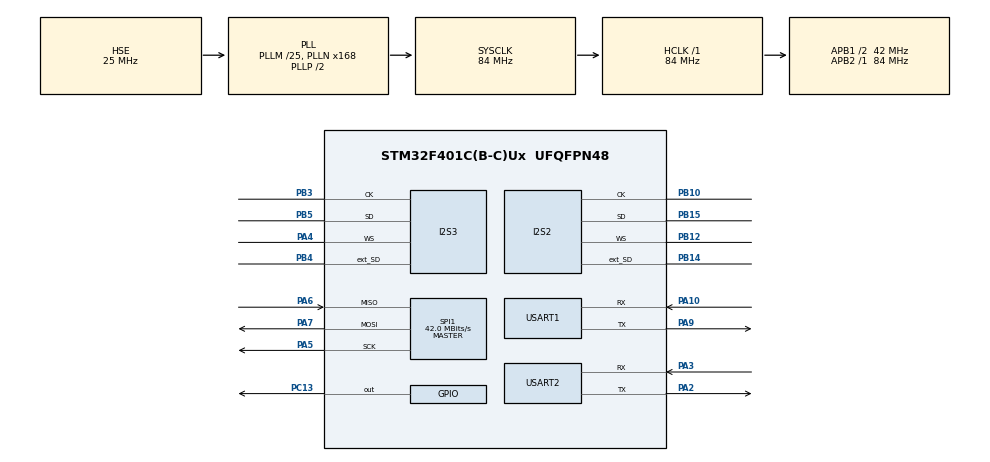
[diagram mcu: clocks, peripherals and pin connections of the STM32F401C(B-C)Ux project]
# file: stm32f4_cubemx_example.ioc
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Dma.I2S2_EXT_RX.5.Direction=DMA_PERIPH_TO_MEMORY
Dma.I2S2_EXT_RX.5.FIFOMode=DMA_FIFOMODE_DISABLE
Dma.I2S2_EXT_RX.5.Instance=DMA1_Stream3
Dma.I2S2_EXT_RX.5.MemDataAlignment=DMA_MDATAALIGN_BYTE
Dma.I2S2_EXT_RX.5.MemInc=DMA_MINC_ENABLE
Dma.I2S2_EXT_RX.5.Mode=DMA_NORMAL
Dma.I2S2_EXT_RX.5.PeriphDataAlignment=DMA_PDATAALIGN_BYTE
Dma.I2S2_EXT_RX.5.PeriphInc=DMA_PINC_DISABLE
Dma.I2S2_EXT_RX.5.Priority=DMA_PRIORITY_LOW
Dma.Request0=USART1_RX
Dma.Request1=USART1_TX
Dma.Request2=USART2_RX
Dma.Request3=USART2_TX
Dma.Request4=SPI1_TX
Dma.Request5=I2S2_EXT_RX
Dma.Request6=SPI3_TX
Dma.SPI1_TX.4.Direction=DMA_MEMORY_TO_PERIPH
Dma.SPI1_TX.4.FIFOMode=DMA_FIFOMODE_DISABLE
Dma.SPI1_TX.4.Instance=DMA2_Stream3
Dma.SPI1_TX.4.MemDataAlignment=DMA_MDATAALIGN_BYTE
Dma.SPI1_TX.4.MemInc=DMA_MINC_ENABLE
Dma.SPI1_TX.4.Mode=DMA_NORMAL
Dma.SPI1_TX.4.PeriphDataAlignment=DMA_PDATAALIGN_BYTE
Dma.SPI1_TX.4.PeriphInc=DMA_PINC_DISABLE
Dma.SPI1_TX.4.Priority=DMA_PRIORITY_LOW
Dma.SPI3_TX.6.Direction=DMA_MEMORY_TO_PERIPH
Dma.SPI3_TX.6.FIFOMode=DMA_FIFOMODE_DISABLE
Dma.SPI3_TX.6.Instance=DMA1_Stream7
Dma.SPI3_TX.6.MemDataAlignment=DMA_MDATAALIGN_BYTE
Dma.SPI3_TX.6.MemInc=DMA_MINC_ENABLE
Dma.SPI3_TX.6.Mode=DMA_NORMAL
Dma.SPI3_TX.6.PeriphDataAlignment=DMA_PDATAALIGN_BYTE
Dma.SPI3_TX.6.PeriphInc=DMA_PINC_DISABLE
Dma.SPI3_TX.6.Priority=DMA_PRIORITY_LOW
Dma.USART1_RX.0.Direction=DMA_PERIPH_TO_MEMORY
Dma.USART1_RX.0.FIFOMode=DMA_FIFOMODE_DISABLE
Dma.USART1_RX.0.Instance=DMA2_Stream2
Dma.USART1_RX.0.MemDataAlignment=DMA_MDATAALIGN_BYTE
Dma.USART1_RX.0.MemInc=DMA_MINC_ENABLE
Dma.USART1_RX.0.Mode=DMA_CIRCULAR
Dma.USART1_RX.0.PeriphDataAlignment=DMA_PDATAALIGN_BYTE
Dma.USART1_RX.0.PeriphInc=DMA_PINC_DISABLE
Dma.USART1_RX.0.Priority=DMA_PRIORITY_LOW
Dma.USART1_TX.1.Direction=DMA_MEMORY_TO_PERIPH
Dma.USART1_TX.1.FIFOMode=DMA_FIFOMODE_DISABLE
Dma.USART1_TX.1.Instance=DMA2_Stream7
Dma.USART1_TX.1.MemDataAlignment=DMA_MDATAALIGN_BYTE
Dma.USART1_TX.1.MemInc=DMA_MINC_ENABLE
Dma.USART1_TX.1.Mode=DMA_NORMAL
Dma.USART1_TX.1.PeriphDataAlignment=DMA_PDATAALIGN_BYTE
Dma.USART1_TX.1.PeriphInc=DMA_PINC_DISABLE
Dma.USART1_TX.1.Priority=DMA_PRIORITY_LOW
Dma.USART2_RX.2.Direction=DMA_PERIPH_TO_MEMORY
Dma.USART2_RX.2.FIFOMode=DMA_FIFOMODE_DISABLE
Dma.USART2_RX.2.Instance=DMA1_Stream5
Dma.USART2_RX.2.MemDataAlignment=DMA_MDATAALIGN_BYTE
Dma.USART2_RX.2.MemInc=DMA_MINC_ENABLE
Dma.USART2_RX.2.Mode=DMA_NORMAL
Dma.USART2_RX.2.PeriphDataAlignment=DMA_PDATAALIGN_BYTE
Dma.USART2_RX.2.PeriphInc=DMA_PINC_DISABLE
Dma.USART2_RX.2.Priority=DMA_PRIORITY_LOW
Dma.USART2_TX.3.Direction=DMA_MEMORY_TO_PERIPH
Dma.USART2_TX.3.FIFOMode=DMA_FIFOMODE_DISABLE
Dma.USART2_TX.3.Instance=DMA1_Stream6
Dma.USART2_TX.3.MemDataAlignment=DMA_MDATAALIGN_BYTE
Dma.USART2_TX.3.MemInc=DMA_MINC_ENABLE
Dma.USART2_TX.3.Mode=DMA_NORMAL
Dma.USART2_TX.3.PeriphDataAlignment=DMA_PDATAALIGN_BYTE
Dma.USART2_TX.3.PeriphInc=DMA_PINC_DISABLE
Dma.USART2_TX.3.Priority=DMA_PRIORITY_LOW
I2S2.ErrorAudioFreq=0.0 %
I2S2.FullDuplexMode=I2S_FULLDUPLEXMODE_ENABLE
I2S2.Instance=SPI$Index
I2S2.RealAudioFreq=8.0 KHz
I2S2.VirtualMode=I2S_MODE_MASTER
I2S3.ErrorAudioFreq=0.0 %
I2S3.FullDuplexMode=I2S_FULLDUPLEXMODE_ENABLE
I2S3.Instance=SPI$Index
I2S3.RealAudioFreq=8.0 KHz
I2S3.VirtualMode=I2S_MODE_MASTER
Mcu.Family=STM32F4
Mcu.Name=STM32F401C(B-C)Ux
Mcu.Package=UFQFPN48
NVIC.DMA1_Stream3_IRQn=true\:0\:0\:false\:false\:true\:false\:true\:true
NVIC.DMA1_Stream5_IRQn=true\:0\:0\:false\:false\:true\:false\:true\:true
NVIC.DMA1_Stream6_IRQn=true\:0\:0\:false\:false\:true\:false\:true\:true
NVIC.DMA1_Stream7_IRQn=true\:0\:0\:false\:false\:true\:false\:true\:true
NVIC.DMA2_Stream2_IRQn=true\:0\:0\:false\:false\:true\:false\:true\:true
NVIC.DMA2_Stream3_IRQn=true\:0\:0\:false\:false\:true\:false\:true\:true
NVIC.DMA2_Stream7_IRQn=true\:0\:0\:false\:false\:true\:false\:true\:true
NVIC.PriorityGroup=NVIC_PRIORITYGROUP_4
NVIC.TIM2_IRQn=true\:3\:0\:true\:false\:true\:true\:true\:true
NVIC.USART1_IRQn=true\:1\:0\:true\:false\:true\:false\:true\:true
NVIC.USART2_IRQn=true\:2\:0\:true\:false\:true\:false\:true\:true
PA10.Mode=Asynchronous
PA10.Signal=USART1_RX
PA2.Mode=Asynchronous
PA2.Signal=USART2_TX
PA3.Mode=Asynchronous
PA3.Signal=USART2_RX
PA4.Mode=Full_Duplex_Master
PA4.Signal=I2S3_WS
PA5.Mode=Full_Duplex_Master
PA5.Signal=SPI1_SCK
PA6.Mode=Full_Duplex_Master
PA6.Signal=SPI1_MISO
PA7.Mode=Full_Duplex_Master
PA7.Signal=SPI1_MOSI
PA9.Mode=Asynchronous
PA9.Signal=USART1_TX
PB10.Mode=Full_Duplex_Master
PB10.Signal=I2S2_CK
PB12.Mode=Full_Duplex_Master
PB12.Signal=I2S2_WS
PB14.Mode=Full_Duplex_Master
PB14.Signal=I2S2_ext_SD
PB15.Mode=Full_Duplex_Master
PB15.Signal=I2S2_SD
PB3.Mode=Full_Duplex_Master
PB3.Signal=I2S3_CK
PB4.Mode=Full_Duplex_Master
PB4.Signal=I2S3_ext_SD
PB5.Mode=Full_Duplex_Master
PB5.Signal=I2S3_SD
PC13-ANTI_TAMP.GPIO_ModeDefaultOutputPP=GPIO_MODE_OUTPUT_OD
PC13-ANTI_TAMP.GPIO_PuPd=GPIO_PULLUP
PC13-ANTI_TAMP.Signal=GPIO_Output
PH0\ -\ OSC_IN.Mode=HSE-External-Oscillator
PH0\ -\ OSC_IN.Signal=RCC_OSC_IN
PH1\ -\ OSC_OUT.Mode=HSE-External-Oscillator
PH1\ -\ OSC_OUT.Signal=RCC_OSC_OUT
ProjectManager.HeapSize=0x200
ProjectManager.StackSize=0x1000
ProjectManager.TargetToolchain=MDK-ARM V5.32
RCC.48MHZClocksFreq_Value=42000000
RCC.AHBFreq_Value=84000000
RCC.APB1CLKDivider=RCC_HCLK_DIV2
RCC.APB1Freq_Value=42000000
RCC.APB1TimFreq_Value=84000000
RCC.APB2Freq_Value=84000000
RCC.APB2TimFreq_Value=84000000
RCC.CortexFreq_Value=84000000
RCC.HCLKFreq_Value=84000000
RCC.HSE_VALUE=25000000
RCC.HSI_VALUE=16000000
RCC.LSE_VALUE=32768
RCC.PLLM=25
RCC.PLLN=168
RCC.PLLSourceVirtual=RCC_PLLSOURCE_HSE
RCC.SYSCLKFreq_VALUE=84000000
RCC.SYSCLKSource=RCC_SYSCLKSOURCE_PLLCLK
RCC.VCOOutputFreq_Value=168000000
SPI1.CalculateBaudRate=42.0 MBits/s
SPI1.Direction=SPI_DIRECTION_2LINES
SPI1.Mode=SPI_MODE_MASTER
SPI1.VirtualType=VM_MASTER
TIM2.AutoReloadPreload=TIM_AUTORELOAD_PRELOAD_ENABLE
TIM2.Period=4999
TIM2.Prescaler=83
USART1.VirtualMode=VM_ASYNC
USART2.VirtualMode=VM_ASYNC
VP_TIM2_VS_ClockSourceINT.Mode=Internal
board=custom

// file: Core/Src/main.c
/* USER CODE BEGIN Header */
/**
  ******************************************************************************
  * @file           : main.c
  * @brief          : Main program body
  ******************************************************************************
  * @attention
  *
  * Copyright (c) 2026 STMicroelectronics.
  * All rights reserved.
  *
  * This software is licensed under terms that can be found in the LICENSE file
  * in the root directory of this software component.
  * If no LICENSE file comes with this software, it is provided AS-IS.
  *
  ******************************************************************************
  */
/* USER CODE END Header */
#include "main.h"
#include "dma.h"
#include "i2s.h"
#include "spi.h"
#include "tim.h"
#include "usart.h"
#include "gpio.h"

/* USER CODE BEGIN Includes */
#include <string.h>
#include <stdio.h>
#include <stdlib.h>
#include "message_protocol.h"
/* USER CODE END Includes */

void SystemClock_Config(void);
void PeriphCommonClock_Config(void);
/* USER CODE BEGIN PFP */

typedef enum
{
	CMD_WIN = 0x0041,
	CMD_ESP = 0x0048,
	CMD_STM = 0x0049,

	// one-direction-data devices
	CMD_DPL = 0x00A1, // display
	CMD_MIC = 0x00A2, // microphone
	CMD_SPK = 0x00A3, // speaker

} CMD_CODE;

#define CMD_CODE_LEN 2
#define CMD_LEN_LEN 8
#define CMD_HEADER_LEN (CMD_CODE_LEN + CMD_LEN_LEN)

uint8_t got_cmd_begin(uint32_t len, const char* msg)
{
	const uint32_t cmd_header_length = CMD_HEADER_LEN;
	if (len < cmd_header_length)
	{
		return 0;
	}
	return 1;
}

void send_uart(UART_HandleTypeDef *huart, const void* data, uint32_t size)
{
	HAL_UART_Transmit(huart, data, size, HAL_MAX_DELAY);
}

char stm_resp[] = "stm32";
void cmd_stm_proc(uint32_t dlen, const char* data)
{
	if (memcmp(data, "win11", 5))
	{
		send_uart(&huart2, stm_resp, 5);
	}
}

void cmd_display_proc(uint32_t dlen, const char* data)
{
	(void)dlen;
	(void)data;
	return;
}

void cmd_speaker_proc(uint32_t dlen, const char* data)
{
	(void)dlen;
	(void)data;
	return;
}

void cmd_proc(const char* msg, uint32_t len)
{
	if (!got_cmd_begin(len, msg)) return;

	const char* data = msg + CMD_HEADER_LEN;
	const uint64_t data_len = ((uint64_t)msg[2] << 0) |
		((uint64_t)msg[3] << (8 * 1)) |
		((uint64_t)msg[3] << (8 * 2)) |
		((uint64_t)msg[3] << (8 * 3)) |
		((uint64_t)msg[3] << (8 * 4)) |
		((uint64_t)msg[3] << (8 * 5)) |
		((uint64_t)msg[3] << (8 * 6)) |
		((uint64_t)msg[3] << (8 * 7));

	uint16_t cmd_code = (msg[0]) | (msg[1] << 8);

	switch (cmd_code)
	{
		case (CMD_WIN):  // ignore windows-for
			break;
		case (CMD_ESP):  // ignore esp32-for
			break;
		case (CMD_STM):
			cmd_stm_proc(data_len, data);
			break;

		case(CMD_DPL):
			cmd_display_proc(data_len, data);
			break;

		case(CMD_MIC): // no to-microphone-directed data
			break;

		case(CMD_SPK):
			cmd_speaker_proc(data_len, data);
			break;
	};

}

const char backspace_msg[2] = " \b";
void backspace(uint16_t i, UART_HandleTypeDef *huart)
{
	if (i <= 1)
	{
		i = 0;
		return;
	}
	HAL_UART_Transmit(huart, backspace_msg, 2, HAL_MAX_DELAY);
}

const char crlf[2] = {'\r', '\n'};
const char lbarr[2] = "> ";

#define RXBUFUSART1 128
#define TXBUFUSART1 128
char tx1msg[TXBUFUSART1];
char rx1_char[RXBUFUSART1] = {};
uint32_t rxusart1buf_i = 0;
volatile char txusart1buf[TXBUFUSART1] = {};
volatile char rxusart1buf[RXBUFUSART1] = {};
const uint8_t rxchar_lag = 0;
const char msg[] = "zdarova";
const int msg_size = 7;
void rxusart1_response(uint8_t is_terminal)
{
	int msg_size_ = 0;
	uint8_t is_msg = 0;
	if ((memcmp(rx1_char, "privet", 6) == 0) && (rxusart1buf_i == 6))
	{
		is_msg = 1;
		msg_size_ = msg_size;
		memcpy(txusart1buf, msg, msg_size);
	}
	else if ((memcmp(rx1_char, "gorbunki", 8) == 0) && (rxusart1buf_i == 8))
	{
		is_msg = 1;
		msg_size_ = 11;
		memcpy(txusart1buf, "Liquidation", 11);
	}
	else
	{
		msg_size_ = 0;
	}

	if (is_terminal) memcpy(tx1msg, crlf, 2); // end current input line
	if (is_msg)
	{
		memcpy(tx1msg+(is_terminal ? 2 : 0), txusart1buf, msg_size_); // output line
		memcpy(tx1msg+(is_terminal ? 2 : 0)+msg_size_, crlf, 2); // end output line
		msg_size_ += (is_terminal ? 2 : 0);
	}
	if (is_terminal) memcpy(tx1msg+(is_terminal ? 2 : 0)+msg_size_, lbarr, 2); // begin next input line

	HAL_UART_Transmit(&huart1, tx1msg, msg_size_+(is_terminal ? 4 : 0), HAL_MAX_DELAY);
}

void uart1rx_cb(void)
{
	HAL_UART_Transmit(&huart1, rx1_char+rxusart1buf_i+rxchar_lag, 1, HAL_MAX_DELAY);

	if (rx1_char[rxusart1buf_i+rxchar_lag] == 0x0D)
	{
		rxusart1_response(1);
		rxusart1buf_i = 0;
	}
	else if (rx1_char[rxusart1buf_i+rxchar_lag] == 0x08)
	{
		backspace(rxusart1buf_i, &huart1);
		--rxusart1buf_i;
	}
	else
	{
		++rxusart1buf_i;
	}

	HAL_UART_Receive_IT(&huart1, rx1_char+rxusart1buf_i, 1);
}

#define RXBUFUSART2 128
#define TXBUFUSART2 128
char tx2msg[256];
char rx2_char[RXBUFUSART2] = {};
uint32_t rxusart2buf_i = 0;
volatile char txusart2buf[TXBUFUSART2] = {};

// Буфер для накопления данных нового протокола message_protocol
#define MSG_PROTOCOL_BUFFER_SIZE 4096
static uint8_t msg_protocol_buffer[MSG_PROTOCOL_BUFFER_SIZE] = {};
static uint32_t msg_protocol_buf_pos = 0;

// Буфер для отправки ответов (статический, ограниченный размером для экономии памяти)
#define TX_BUFFER_SIZE (MSG_HEADER_LEN + 4096)  // Достаточно для большинства сообщений
static uint8_t tx_buffer[TX_BUFFER_SIZE] = {};

uint8_t rx2char_lag = 0x0;
char txconst[1] = { 0x55 };

// Функция для вывода заголовка на UART1 (отладчик)
void print_header_to_uart1(const msg_header_t* header, const uint8_t* payload, uint32_t payload_len)
{
	char debug_msg[256];
	int len = 0;

	len += sprintf(debug_msg + len, "[TEST RX] type=%d src=%d dst=%d len=%lu seq=%d\r\n",
		header->msg_type, header->source_id, header->destination_id,
		(unsigned long)header->payload_len, header->sequence);

	// Отладочный вывод: показываем байты заголовка из буфера
	len += sprintf(debug_msg + len, "[TEST RX] Header bytes: ");
	for (int i = 0; i < MSG_HEADER_LEN && i < 12; i++)
	{
		len += sprintf(debug_msg + len, "%02X ", msg_protocol_buffer[i]);
	}
	len += sprintf(debug_msg + len, "\r\n");

	// Выводим информацию о реальном payload
	if (payload != NULL && payload_len > 0)
	{
		len += sprintf(debug_msg + len, "[TEST RX] Payload received: %lu bytes\r\n", (unsigned long)payload_len);
		if (payload_len <= 16)
		{
			len += sprintf(debug_msg + len, "[TEST RX] Payload data: ");
			for (uint32_t i = 0; i < payload_len; i++)
			{
				len += sprintf(debug_msg + len, "%02X ", payload[i]);
			}
			len += sprintf(debug_msg + len, "\r\n");
		}
	}
	else
	{
		len += sprintf(debug_msg + len, "[TEST RX] WARNING: No payload data (payload_len=%lu)\r\n",
			(unsigned long)payload_len);
	}

	HAL_UART_Transmit(&huart1, (uint8_t*)debug_msg, len, HAL_MAX_DELAY);
}

// Union для работы с заголовком как с байтами и структурой
typedef union
{
	msg_header_t header;
	uint8_t bytes[MSG_HEADER_LEN];
} msg_header_union_t;

// Обработка нового протокола message_protocol
void process_message_protocol(void)
{
	// Обрабатываем все доступные пакеты в буфере
	while (msg_protocol_buf_pos >= MSG_HEADER_LEN)
	{
		// Используем готовую функцию msg_unpack для правильного парсинга
		msg_header_t header;
		const u8* payload = NULL;
		u32 payload_len = 0;

		// Проверяем, достаточно ли данных для заголовка
		if (msg_protocol_buf_pos < MSG_HEADER_LEN)
		{
			// Недостаточно данных даже для заголовка - ждем
			break;
		}

		// Читаем заголовок вручную для проверки валидности
		msg_header_t temp_header;
		temp_header.msg_type = msg_protocol_buffer[0];
		temp_header.source_id = msg_protocol_buffer[1];
		temp_header.destination_id = msg_protocol_buffer[2];
		temp_header.route_flags = msg_protocol_buffer[3];
		temp_header.priority = msg_protocol_buffer[4];
		temp_header.stream_id = (u16)(msg_protocol_buffer[5] | (msg_protocol_buffer[6] << 8));
		temp_header.payload_len = (u32)(msg_protocol_buffer[7] | (msg_protocol_buffer[8] << 8) |
			(msg_protocol_buffer[9] << 16) | (msg_protocol_buffer[10] << 24));
		temp_header.sequence = msg_protocol_buffer[11];

		// Проверяем валидность заголовка
		if (!msg_validate_header(&temp_header))
		{
			// Заголовок невалиден - сбрасываем буфер
			// Правило: если не получилось обработать заголовок - он сбрасывается без уведомления отправителю
			char debug_buf[128];
			int dbg_len = sprintf(debug_buf, "[RX] Invalid header, clearing buffer (%lu bytes)\r\n",
				(unsigned long)msg_protocol_buf_pos);
			HAL_UART_Transmit(&huart1, (uint8_t*)debug_buf, dbg_len, HAL_MAX_DELAY);
			msg_protocol_buf_pos = 0;
			break;
		}

		// Заголовок валиден, проверяем, достаточно ли данных для полного пакета
		uint32_t expected_total = MSG_HEADER_LEN + temp_header.payload_len;
		if (msg_protocol_buf_pos < expected_total)
		{
			// Данных недостаточно для полного пакета - ждем
			break;
		}

		// Данных достаточно, пытаемся распарсить сообщение
		if (!msg_unpack(msg_protocol_buffer, msg_protocol_buf_pos, &header, &payload, &payload_len))
		{
			// Это не должно происходить, так как мы уже проверили валидность заголовка
			// Но на всякий случай сбрасываем буфер
			char debug_buf[128];
			int dbg_len = sprintf(debug_buf, "[RX] msg_unpack failed unexpectedly, clearing buffer (%lu bytes)\r\n",
				(unsigned long)msg_protocol_buf_pos);
			HAL_UART_Transmit(&huart1, (uint8_t*)debug_buf, dbg_len, HAL_MAX_DELAY);
			msg_protocol_buf_pos = 0;
			break;
		}

		// Полный пакет успешно распарсен
		uint32_t total_packet_size = MSG_HEADER_LEN + payload_len;

		// КРИТИЧЕСКАЯ ПРОВЕРКА: защита от повреждения памяти при memmove
		// Если total_packet_size > msg_protocol_buf_pos, то memmove попытается скопировать
		// огромное количество данных (из-за unsigned overflow), что вызовет INVPC fault
		if (total_packet_size > msg_protocol_buf_pos)
		{
			// Некорректный размер пакета - сбрасываем буфер
			char debug_buf[128];
			int dbg_len = sprintf(debug_buf, "[RX] ERROR: Packet size mismatch (packet=%lu, buf=%lu), clearing\r\n",
				(unsigned long)total_packet_size, (unsigned long)msg_protocol_buf_pos);
			HAL_UART_Transmit(&huart1, (uint8_t*)debug_buf, dbg_len, HAL_MAX_DELAY);
			msg_protocol_buf_pos = 0;
			break;
		}

		// Отладочный вывод
		char debug_buf[256];
		int dbg_len = sprintf(debug_buf, "[RX] type=%d src=%d dst=%d len=%lu\r\n",
			header.msg_type, header.source_id, header.destination_id,
			(unsigned long)payload_len);
		HAL_UART_Transmit(&huart1, (uint8_t*)debug_buf, dbg_len, HAL_MAX_DELAY);

		// Отладочный вывод первых байт payload для маленьких сообщений
		if (payload != NULL && payload_len > 0 && payload_len <= 16)
		{
			dbg_len = sprintf(debug_buf, "[RX] Payload bytes: ");
			for (uint32_t i = 0; i < payload_len; i++)
			{
				dbg_len += sprintf(debug_buf + dbg_len, "%02X ", payload[i]);
			}
			dbg_len += sprintf(debug_buf + dbg_len, "\r\n");
			HAL_UART_Transmit(&huart1, (uint8_t*)debug_buf, dbg_len, HAL_MAX_DELAY);
		}

		// Проверяем, это сообщение для STM32?
		if (header.destination_id == MSG_DST_STM32)
		{
			// Обработка команды TEST
			if (header.msg_type == MSG_TYPE_COMMAND && payload != NULL && payload_len > 0)
			{
				// Проверяем команду
				if (payload_len == 4 && memcmp(payload, "TEST", 4) == 0)
				{
					// Отправляем ответ TEST_RESPONSE
					const char* response = "TEST_RESPONSE";
					msg_header_t response_header = msg_create_header(
						MSG_TYPE_RESPONSE,
						MSG_SRC_STM32,
						MSG_DST_WIN,
						128, 0, strlen(response), 0, MSG_ROUTE_NONE);

					u8 tx_buffer[MSG_HEADER_LEN + 64];
					u32 packed_size = msg_pack(&response_header, response, strlen(response), tx_buffer);
					if (packed_size > 0)
					{
						HAL_UART_Transmit(&huart2, tx_buffer, packed_size, HAL_MAX_DELAY);
					}
				}
				// Обработка команды STATUS
				else if (payload_len == 6 && memcmp(payload, "STATUS", 6) == 0)
				{
					// Отправляем статус
					const char* status = "STATUS:UART=READY";
					msg_header_t response_header = msg_create_header(
						MSG_TYPE_RESPONSE,
						MSG_SRC_STM32,
						MSG_DST_WIN,
						128, 0, strlen(status), 0, MSG_ROUTE_NONE);

					u8 tx_buffer[MSG_HEADER_LEN + 128];
					u32 packed_size = msg_pack(&response_header, status, strlen(status), tx_buffer);
					if (packed_size > 0)
					{
						HAL_UART_Transmit(&huart2, tx_buffer, packed_size, HAL_MAX_DELAY);
					}
				}
			}
			// Обработка данных (изображения для теста или тестовые данные)
			else if (header.msg_type == MSG_TYPE_DATA && payload != NULL && payload_len > 0)
			{
				// Проверяем размер payload (ограничиваем размером статического буфера)
				uint32_t max_payload = TX_BUFFER_SIZE - MSG_HEADER_LEN;
				if (payload_len <= max_payload)
				{
					// Отладочный вывод
					char debug_buf[128];
					int dbg_len = sprintf(debug_buf, "[TX] Sending response: len=%lu\r\n",
						(unsigned long)payload_len);
					HAL_UART_Transmit(&huart1, (uint8_t*)debug_buf, dbg_len, HAL_MAX_DELAY);

					// Возвращаем данные обратно (аналогично ESP32)
					msg_header_t response_header = msg_create_header(
						MSG_TYPE_RESPONSE,
						MSG_SRC_STM32,
						MSG_DST_EXTERNAL,
						128, 0, payload_len, 0, MSG_ROUTE_NONE);

					// Используем статический буфер для отправки
					u32 packed_size = msg_pack(&response_header, payload, payload_len, tx_buffer);
					if (packed_size > 0)
					{
						// Отладочный вывод о размере отправляемого пакета
						dbg_len = sprintf(debug_buf, "[TX] Packed size: %lu bytes\r\n",
							(unsigned long)packed_size);
						HAL_UART_Transmit(&huart1, (uint8_t*)debug_buf, dbg_len, HAL_MAX_DELAY);

						// Отладочный вывод первых байт отправляемого пакета
//						if (packed_size <= 16)
//						{
//							char hex_buf[64];
//							int hex_len = sprintf(hex_buf, "[TX] Sending bytes: ");
//							for (uint32_t i = 0; i < packed_size; i++)
//							{
//								hex_len += sprintf(hex_buf + hex_len, "%02X ", tx_buffer[i]);
//							}
//							hex_len += sprintf(hex_buf + hex_len, "\r\n");
//							HAL_UART_Transmit(&huart1, (uint8_t*)hex_buf, hex_len, HAL_MAX_DELAY);
//						}

						// Отправляем через UART2 (блокирующий режим, как на UART1)
						HAL_StatusTypeDef tx_status = HAL_UART_Transmit(&huart2, tx_buffer, packed_size, HAL_MAX_DELAY);
						if (tx_status == HAL_OK)
						{
							dbg_len = sprintf(debug_buf, "[TX] Transmission completed (%lu bytes)\r\n",
								(unsigned long)packed_size);
							HAL_UART_Transmit(&huart1, (uint8_t*)debug_buf, dbg_len, HAL_MAX_DELAY);
						}
						else
						{
							dbg_len = sprintf(debug_buf, "[TX] ERROR: Transmission failed (status=%d)\r\n", tx_status);
							HAL_UART_Transmit(&huart1, (uint8_t*)debug_buf, dbg_len, HAL_MAX_DELAY);
						}
					}
					else
					{
						dbg_len = sprintf(debug_buf, "[TX] ERROR: msg_pack failed\r\n");
						HAL_UART_Transmit(&huart1, (uint8_t*)debug_buf, dbg_len, HAL_MAX_DELAY);
					}
				}
				else
				{
					// Payload слишком большой для статического буфера
					char err_msg[128];
					int err_len = sprintf(err_msg, "[ERROR] Payload too large: %lu bytes\r\n",
						(unsigned long)payload_len);
					HAL_UART_Transmit(&huart1, (uint8_t*)err_msg, err_len, HAL_MAX_DELAY);
				}
			}
		}

		// Удаляем обработанный пакет из буфера
		// ВАЖНО: total_packet_size уже проверен выше, но проверяем еще раз для безопасности
		if (total_packet_size <= msg_protocol_buf_pos)
		{
			uint32_t remaining_size = msg_protocol_buf_pos - total_packet_size;

			// Сдвигаем оставшиеся данные (если есть)
			if (remaining_size > 0)
			{
				memmove(msg_protocol_buffer, msg_protocol_buffer + total_packet_size, remaining_size);
			}
			// Обновляем счетчик (всегда, даже если remaining_size == 0)
			msg_protocol_buf_pos = remaining_size;
		}
		else
		{
			// Это не должно происходить, так как мы проверили выше, но на всякий случай
			char debug_buf[128];
			int dbg_len = sprintf(debug_buf, "[RX] ERROR: Cannot remove packet (size=%lu, buf=%lu), clearing\r\n",
				(unsigned long)total_packet_size, (unsigned long)msg_protocol_buf_pos);
			HAL_UART_Transmit(&huart1, (uint8_t*)debug_buf, dbg_len, HAL_MAX_DELAY);
			msg_protocol_buf_pos = 0;
			break;
		}

		// Защита от переполнения
		if (msg_protocol_buf_pos >= MSG_PROTOCOL_BUFFER_SIZE - 1)
		{
			// Буфер переполнен, очищаем
			msg_protocol_buf_pos = 0;
			break;
		}
	}
}

void uart2rx_cb(void)
{
	// Читаем байт напрямую из регистра данных UART (правильный способ)
	uint8_t received_byte = (uint8_t)(huart2.Instance->DR & 0xFF);

	// Добавляем байт в буфер нового протокола (если есть место)
	if (msg_protocol_buf_pos < MSG_PROTOCOL_BUFFER_SIZE - 1)
	{
		msg_protocol_buffer[msg_protocol_buf_pos] = received_byte;
		msg_protocol_buf_pos++;

		// НЕ вызываем process_message_protocol() в прерывании!
		// Обработка будет в основном цикле
	}
	else
	{
		// Буфер переполнен, пропускаем байт и выводим ошибку
		char err_buf[64];
		int err_len = sprintf(err_buf, "[ERROR] Message buffer overflow, byte dropped.\r\n");
		HAL_UART_Transmit(&huart1, (uint8_t*)err_buf, err_len, HAL_MAX_DELAY);
	}

	// Старая логика для совместимости (можно убрать позже)
	if (rx2_char[rxusart2buf_i+rx2char_lag] == 0x0D)
	{
		cmd_proc(rx2_char, rxusart2buf_i);
		rxusart2buf_i = 0;
	}
	else
	{
		++rxusart2buf_i;
	}

	// Запускаем следующий прием
	HAL_UART_Receive_IT(&huart2, rx2_char+rxusart2buf_i, 1);
}

void HAL_UART_RxCpltCallback(UART_HandleTypeDef *huart)
{
	if (huart == &huart1)
	{
		uart1rx_cb();
	}
	else if (huart == &huart2)
	{
		uart2rx_cb();
	}
}

void HAL_UART_TxCpltCallback(UART_HandleTypeDef *huart)
{
	// Callback больше не используется для UART2, так как используется блокирующая передача
	// Оставлен для совместимости, если понадобится в будущем
	(void)huart;
}

void HAL_TIM_PeriodElapsedCallback(TIM_HandleTypeDef *htim)
{

}

/* USER CODE END PFP */

int main(void)
{

  /* MCU Configuration--------------------------------------------------------*/

  /* Reset of all peripherals, Initializes the Flash interface and the Systick. */
  HAL_Init();

  /* Configure the system clock */
  SystemClock_Config();

  /* Configure the peripherals common clocks */
  PeriphCommonClock_Config();

  /* Initialize all configured peripherals */
  MX_GPIO_Init();
  MX_DMA_Init();
  MX_USART1_UART_Init();
  MX_USART2_UART_Init();
  MX_TIM2_Init();
  MX_I2S2_Init();
  MX_I2S3_Init();
  MX_SPI1_Init();
  /* USER CODE BEGIN 2 */
	char msg[] = "zhopa s ogurcami";
	HAL_UART_Transmit(&huart2, (uint8_t*)msg, 15, HAL_MAX_DELAY);
	HAL_UART_Receive_IT(&huart1, rx1_char, 1);
	HAL_UART_Receive_IT(&huart2, rx2_char, 1);
	//HAL_UART_Transmit_IT(&huart1,txusart1buf,strlen(txusart1buf));
	HAL_TIM_Base_Start_IT(&htim2);
	HAL_UART_Transmit(&huart2, (uint8_t*)msg, 15, HAL_MAX_DELAY);

	// Пример использования C++ классов через C-обертки:
	// #include "uart_handler_c_wrapper.h"
	// #include "message_queue_c_wrapper.h"
	//
	// static uart_handler_handle_t g_uart_handler = NULL;
	// static message_queue_handle_t g_message_queue = NULL;
	//
	// // Callback для обработки сообщений
	// void handle_message_callback(const msg_header_t* header, const u8* payload, u32 payload_len)
	// {
	//     if (g_message_queue && header)
	//     {
	//         message_queue_enqueue(g_message_queue, header, payload, payload_len);
	//     }
	// }
	//
	// // Инициализация
	// g_uart_handler = uart_handler_create();
	// if (g_uart_handler)
	// {
	//     uart_handler_init(g_uart_handler, 2, 115200);  // USART2
	//     uart_handler_start(g_uart_handler);
	//     uart_handler_register_type_handler(g_uart_handler, MSG_TYPE_COMMAND, handle_message_callback);
	//     uart_handler_register_type_handler(g_uart_handler, MSG_TYPE_DATA, handle_message_callback);
	// }
	//
	// g_message_queue = message_queue_create();
  /* USER CODE END 2 */

  /* Infinite loop */
  while (1)
  {

    /* USER CODE BEGIN 3 */
    // Обработка накопленных данных нового протокола
    process_message_protocol();

    // Небольшая задержка для снижения нагрузки на CPU
    //HAL_Delay(1);
  }
  /* USER CODE END 3 */
}

void SystemClock_Config(void)
{
  RCC_OscInitTypeDef RCC_OscInitStruct = {0};
  RCC_ClkInitTypeDef RCC_ClkInitStruct = {0};

  /** Configure the main internal regulator output voltage
  */
  __HAL_RCC_PWR_CLK_ENABLE();
  __HAL_PWR_VOLTAGESCALING_CONFIG(PWR_REGULATOR_VOLTAGE_SCALE2);

  /** Initializes the RCC Oscillators according to the specified parameters
  * in the RCC_OscInitTypeDef structure.
  */
  RCC_OscInitStruct.OscillatorType = RCC_OSCILLATORTYPE_HSE;
  RCC_OscInitStruct.HSEState = RCC_HSE_ON;
  RCC_OscInitStruct.PLL.PLLState = RCC_PLL_ON;
  RCC_OscInitStruct.PLL.PLLSource = RCC_PLLSOURCE_HSE;
  RCC_OscInitStruct.PLL.PLLM = 25;
  RCC_OscInitStruct.PLL.PLLN = 168;
  RCC_OscInitStruct.PLL.PLLP = RCC_PLLP_DIV2;
  RCC_OscInitStruct.PLL.PLLQ = 4;
  if (HAL_RCC_OscConfig(&RCC_OscInitStruct) != HAL_OK)
  {
    Error_Handler();
  }

  /** Initializes the CPU, AHB and APB buses clocks
  */
  RCC_ClkInitStruct.ClockType = RCC_CLOCKTYPE_HCLK|RCC_CLOCKTYPE_SYSCLK
                              |RCC_CLOCKTYPE_PCLK1|RCC_CLOCKTYPE_PCLK2;
  RCC_ClkInitStruct.SYSCLKSource = RCC_SYSCLKSOURCE_PLLCLK;
  RCC_ClkInitStruct.AHBCLKDivider = RCC_SYSCLK_DIV1;
  RCC_ClkInitStruct.APB1CLKDivider = RCC_HCLK_DIV2;
  RCC_ClkInitStruct.APB2CLKDivider = RCC_HCLK_DIV1;

  if (HAL_RCC_ClockConfig(&RCC_ClkInitStruct, FLASH_LATENCY_2) != HAL_OK)
  {
    Error_Handler();
  }
}

void PeriphCommonClock_Config(void)
{
  RCC_PeriphCLKInitTypeDef PeriphClkInitStruct = {0};

  /** Initializes the peripherals clock
  */
  PeriphClkInitStruct.PeriphClockSelection = RCC_PERIPHCLK_I2S;
  PeriphClkInitStruct.PLLI2S.PLLI2SN = 192;
  PeriphClkInitStruct.PLLI2S.PLLI2SR = 2;
  if (HAL_RCCEx_PeriphCLKConfig(&PeriphClkInitStruct) != HAL_OK)
  {
    Error_Handler();
  }
}

void Error_Handler(void)
{
  __disable_irq();
  while (1)
  {
  }
}
